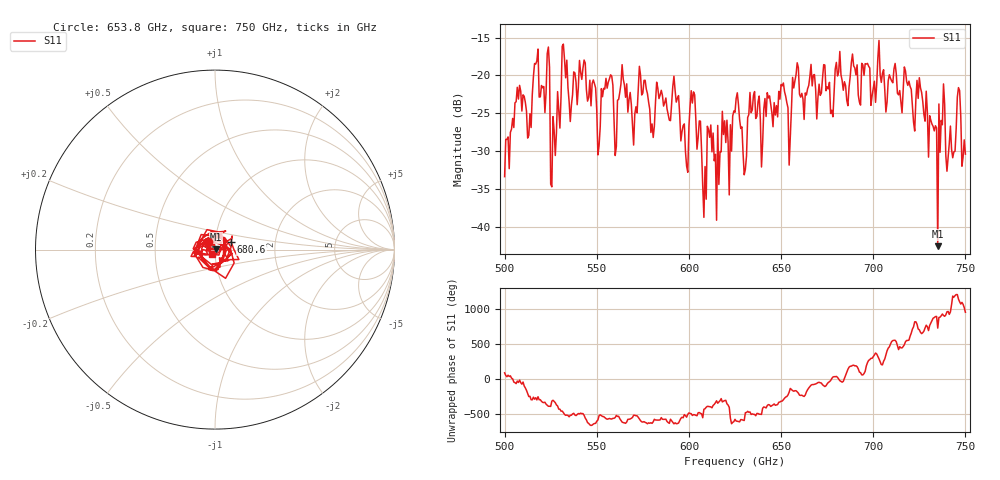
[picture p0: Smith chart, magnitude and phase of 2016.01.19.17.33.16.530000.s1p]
!Created with skrf (http://scikit-rf.org).
# GHz S RI R 50.0
!freq ReS11 ImS11
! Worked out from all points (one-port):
!   401 points, 500 GHz to 750 GHz, reference 50 ohm
!   lowest |S11| = -42.6 dB at 735 GHz (marker M1), VSWR 1.02, Z = 50.7 + j0.146 ohm
!   |S11| at or under -10 dB: start of sweep to end of sweep
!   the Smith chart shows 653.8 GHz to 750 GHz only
!   S11 on the Smith chart (normalised r, x): 653.8 GHz: 0.92, +0.08; 680.6 GHz: 1.19, +0.10; 750 GHz: 0.97, -0.05
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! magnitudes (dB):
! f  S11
! 500 GHz  -33.4
! 507.5 GHz  -23.1
! 513.8 GHz  -25.1
! 516.9 GHz  -18.5
! 523.1 GHz  -17.1
! 526.2 GHz  -25.4
! 531.2 GHz  -16.1
! 542.5 GHz  -19.1
! 550.6 GHz  -30.5
! 562.5 GHz  -22.2
! 593.8 GHz  -23.0
! 598.8 GHz  -32.0
! 602.5 GHz  -22.2
! 608.1 GHz  -38.8
! 611.2 GHz  -28.2
! 616.2 GHz  -34.4
! 625 GHz  -24.9
! 630 GHz  -33.1
! 634.4 GHz  -24.5
! 653.8 GHz  -24.3
! 656.2 GHz  -20.3
! 680.6 GHz  -20.1
! 687.5 GHz  -20.2
! 718.8 GHz  -21.3
! 735 GHz  -42.6
! 743.8 GHz  -30.1
! 746.2 GHz  -21.6
! 750 GHz  -30.4
